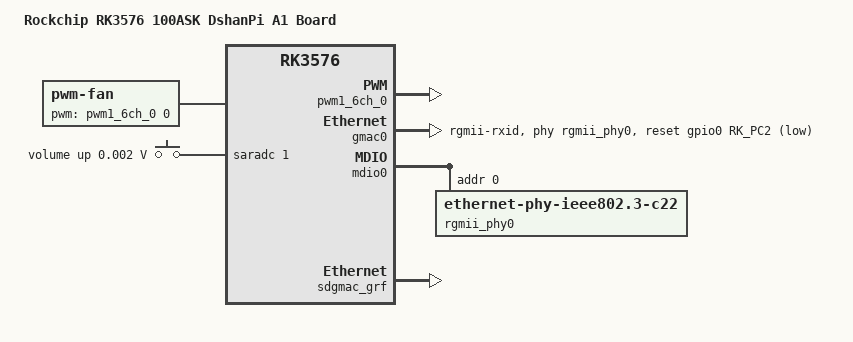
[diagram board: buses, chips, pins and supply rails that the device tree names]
// SPDX-License-Identifier: (GPL-2.0+ OR MIT)
/*
 * Copyright (c) 2023 Rockchip Electronics Co., Ltd.
 */

/dts-v1/;
#include "rk3576.dtsi"
#include "rk3576-u-boot.dtsi"
#include <dt-bindings/input/input.h>
#include <dt-bindings/pwm/pwm.h>

/ {
	model = "Rockchip RK3576 100ASK DshanPi A1 Board";
	compatible = "rockchip,rk3576-evb", "rockchip,rk3576";

	fan: pwm-fan {
		u-boot,dm-pre-reloc;
		compatible = "pwm-fan";
		pwms = <&pwm1_6ch_0 0 50000 PWM_POLARITY_INVERTED>;
		status = "okay";
	};

	adc-keys {
		compatible = "adc-keys";
		io-channels = <&saradc 1>;
		io-channel-names = "buttons";
		keyup-threshold-microvolt = <1800000>;
		u-boot,dm-pre-reloc;
		status = "okay";

		volumeup-key {
			u-boot,dm-pre-reloc;
			linux,code = <KEY_VOLUMEUP>;
			label = "volume up";
			press-threshold-microvolt = <1750>;
		};
	};
};

/* DShanPi A1 fan control on GPIO0_B4. */
&pwm1_6ch_0 {
	u-boot,dm-pre-reloc;
	pinctrl-0 = <&pwm1m0_ch0>;
	status = "okay";
};

&pwm1m0_ch0 {
	u-boot,dm-pre-reloc;
};

&gmac0 {
	/* Use rgmii-rxid mode to disable rx delay inside Soc */
	phy-mode = "rgmii-rxid";
	clock_in_out = "output";

	snps,reset-gpio = <&gpio0 RK_PC2 GPIO_ACTIVE_LOW>;
	snps,reset-active-low;
	snps,reset-delays-us = <0 20000 100000>;

	pinctrl-names = "default";
	pinctrl-0 = <&eth0m0_miim
		     &eth0m0_tx_bus2
		     &eth0m0_txctl
		     &eth0m0_rx_bus2
		     &eth0m0_rxctl
		     &eth0m0_rgmii_clk
		     &eth0m0_rgmii_bus>;

	tx_delay = <0x1b>;

	phy-handle = <&rgmii_phy0>;
	status = "okay";
};

&mdio0 {
	rgmii_phy0: phy@0 {
		compatible = "ethernet-phy-ieee802.3-c22";
		u-boot,dm-pre-reloc;
		reg = <0x0>;
	};
};


&sdgmac_grf {
	u-boot,dm-pre-reloc;
	status = "okay";
};


&gmac0 {
	u-boot,dm-pre-reloc;
};

&gmac0_stmmac_axi_setup {
	u-boot,dm-pre-reloc;
};

&gmac0_mtl_rx_setup {
	u-boot,dm-pre-reloc;

	queue0 {
		u-boot,dm-pre-reloc;
	};
};

&gmac0_mtl_tx_setup {
	u-boot,dm-pre-reloc;

	queue0 {
		u-boot,dm-pre-reloc;
	};
};

&mdio0 {
	u-boot,dm-pre-reloc;
};

&eth0m0_miim {
	u-boot,dm-pre-reloc;
};

&eth0m0_tx_bus2 {
	u-boot,dm-pre-reloc;
};

&eth0m0_rx_bus2 {
	u-boot,dm-pre-reloc;
};

&eth0m0_txctl {
	u-boot,dm-pre-reloc;
};

&eth0m0_rxctl {
	u-boot,dm-pre-reloc;
};

&eth0m0_rgmii_clk {
	u-boot,dm-pre-reloc;
};

&eth0m0_rgmii_bus {
	u-boot,dm-pre-reloc;
};



